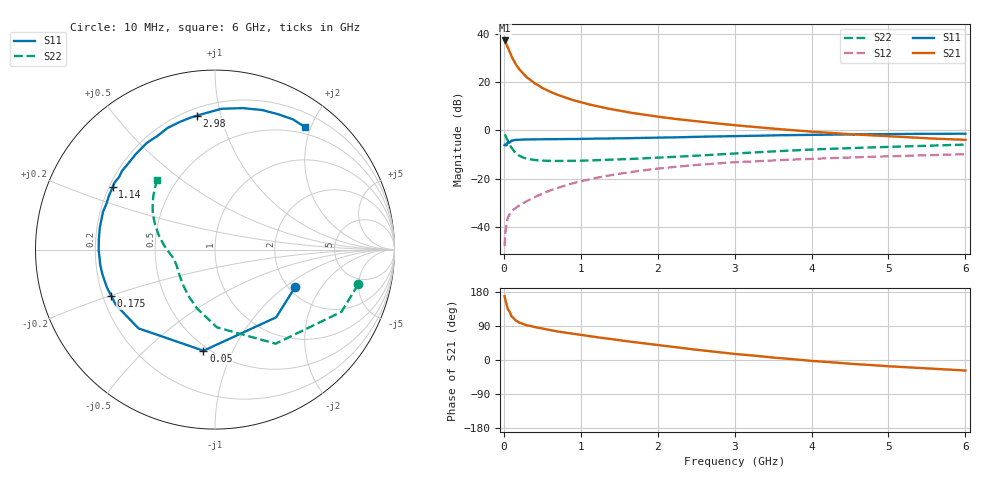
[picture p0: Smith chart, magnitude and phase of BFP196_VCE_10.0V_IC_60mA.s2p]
! Infineon Technologies  Discrete & RF Semiconductors
! BFP196
! VCE = 10.0V,  IC =  60mA
! Common Emitter S-Parameters:  Jan 2016
# GHz  S  MA  R  50
!  f  S11  S21  S12  S22
! GHz  MAG  ANG  MAG  ANG  MAG  ANG  MAG  ANG
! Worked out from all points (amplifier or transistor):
!   210 points, 10 MHz to 6 GHz, reference 50 ohm
!   highest |S21| = 37.1 dB at 10 MHz (marker M1)
!   |S21| within 3 dB of that: start of sweep to 53.5 MHz
!   unconditionally stable (mu >= 1): 493.8 MHz to 4.728 GHz
!   at 185 MHz: K = 0.68, MSG = 28.7 dB, |S12| = -31.5 dB
!   at 1.52 GHz: K = 1.08, MAG = 11.2 dB, |S12| = -17.9 dB
!   at 6 GHz: K = 0.98, MSG = 3.0 dB, |S12| = -9.9 dB
!   S11 on the Smith chart (normalised r, x): 10 MHz: 2.16, -1.19; 50 MHz: 0.47, -0.78; 175 MHz: 0.23, -0.20; 1.14 GHz: 0.21, +0.27; 2.98 GHz: 0.24, +0.85; 6 GHz: 0.40, +1.91
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0.01  0.4927 -25.2  71.88 168.6  0.004 72.3  0.8218 -13.6
0.02  0.5084 -47.9  67.17 157.7  0.0077 65.8  0.7851 -26.2
0.05  0.5672 -96.5  52.35 134.8  0.0153 54.6  0.6237 -57.2
0.1  0.6119 -134.2  33.55 114.8  0.0211 47.4  0.4336 -88.5
0.15  0.6326 -151.0  23.76 104.8  0.0245 46.8  0.3431 -106.9
0.175  0.633 -155.9  21.01 102.2  0.026 48.0  0.3189 -112.7
0.2  0.6379 -160.7  18.32 98.8  0.0276 49.0  0.2985 -119.4
0.26  0.6427 -168.6  14.26 94.1  0.0316 51.4  0.2691 -130.1
0.3  0.6449 -172.4  12.34 91.6  0.0342 54.1  0.2587 -135.3
0.4  0.6481 180.0  9.374 86.9  0.0411 57.2  0.2421 -145.2
0.5  0.6497 174.7  7.5 82.8  0.0487 59.1  0.2351 -151.7
0.6  0.6532 169.6  6.266 78.9  0.0566 60.0  0.2321 -156.2
0.8  0.6586 161.2  4.715 72.2  0.0723 60.1  0.2326 -162.3
1.02  0.6629 152.6  3.714 65.6  0.0892 59.1  0.2349 -166.7
1.14  0.6681 148.5  3.333 62.1  0.0986 58.0  0.2382 -168.8
1.6  0.6837 133.6  2.375 49.5  0.1328 52.4  0.2535 -175.3
2.02  0.7055 121.8  1.892 38.9  0.1618 46.4  0.2714 178.7
2.98  0.7534 97.6  1.28 16.5  0.2164 32.7  0.3285 164.4
3.1  0.7588 95.2  1.229 14.3  0.2214 30.9  0.3363 162.5
4.1  0.8059 77.3  0.912 -3.7  0.2595 18.4  0.4049 148.9
5.1  0.8343 63.8  0.736 -17.6  0.292 7.5  0.4578 138.4
6  0.8469 53.6  0.633 -27.8  0.3192 -2.1  0.5037 129.5
